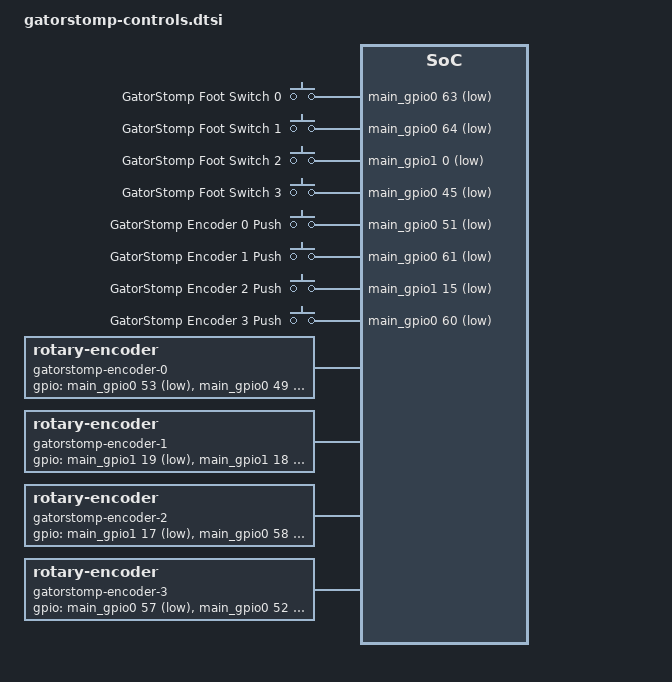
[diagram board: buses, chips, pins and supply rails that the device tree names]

/*
 * GatorSTOMP Controls
 * 4 footswitches + 4 rotary encoders with push buttons
 */

#include <dt-bindings/gpio/gpio.h>
#include <dt-bindings/input/input.h>

/* GPIO pin multiplexing */
&main_pmx0 {

    /* Footswitches and encoder push buttons */
    gatorstomp_key_pins: gatorstomp-key-pins {
        pinctrl-single,pins = <
            /* Footswitches 0-3 */
            AM62X_IOPAD(0x0100, PIN_INPUT_PULLUP, 7) /* P2.22 GPIO0_63 */
            AM62X_IOPAD(0x0104, PIN_INPUT_PULLUP, 7) /* P2.17 GPIO0_64 */
            AM62X_IOPAD(0x0178, PIN_INPUT_PULLUP, 7) /* P2.19 GPIO1_0  */
            AM62X_IOPAD(0x00B8, PIN_INPUT_PULLUP, 7) /* P2.02 GPIO0_45 */

            /* Encoder push buttons 0-3 */
            AM62X_IOPAD(0x00D0, PIN_INPUT_PULLUP, 7) /* P2.24 GPIO0_51 */
            AM62X_IOPAD(0x00F8, PIN_INPUT_PULLUP, 7) /* P2.28 GPIO0_61 */
            AM62X_IOPAD(0x01B4, PIN_INPUT_PULLUP, 7) /* P2.31 GPIO1_15 */
            AM62X_IOPAD(0x0170, PIN_DISABLE, 7)     /* P2.31A alternate pad */
            AM62X_IOPAD(0x00F4, PIN_INPUT_PULLUP, 7) /* P2.34 GPIO0_60 */
        >;
    };

    /* Encoder 0 rotation */
    gatorstomp_encoder_0_pins: gatorstomp-encoder-0-pins {
        pinctrl-single,pins = <
            AM62X_IOPAD(0x00D8, PIN_INPUT_PULLUP, 7) /* P2.18 A */
            AM62X_IOPAD(0x00C8, PIN_INPUT_PULLUP, 7) /* P2.20 B */
        >;
    };

    /* Encoder 1 rotation */
    gatorstomp_encoder_1_pins: gatorstomp-encoder-1-pins {
        pinctrl-single,pins = <
            AM62X_IOPAD(0x01C4, PIN_INPUT_PULLUP, 7) /* P2.25 A */
            AM62X_IOPAD(0x01C0, PIN_INPUT_PULLUP, 7) /* P2.27 B */
        >;
    };

    /* Encoder 2 rotation */
    gatorstomp_encoder_2_pins: gatorstomp-encoder-2-pins {
        pinctrl-single,pins = <
            AM62X_IOPAD(0x01BC, PIN_INPUT_PULLUP, 7) /* P2.29 A */
            AM62X_IOPAD(0x00A4, PIN_DISABLE, 7)     /* P2.29A alternate pad */
            AM62X_IOPAD(0x00EC, PIN_INPUT_PULLUP, 7) /* P2.30 B */
        >;
    };

    /* Encoder 3 rotation */
    gatorstomp_encoder_3_pins: gatorstomp-encoder-3-pins {
        pinctrl-single,pins = <
            AM62X_IOPAD(0x00E8, PIN_INPUT_PULLUP, 7) /* P2.32 A */
            AM62X_IOPAD(0x00D4, PIN_INPUT_PULLUP, 7) /* P2.33 B */
        >;
    };
};

/* Input devices */
 / {
    /* Footswitches and encoder push buttons */
    gatorstomp-controls {
        compatible = "gpio-keys";

        pinctrl-names = "default";
        pinctrl-0 = <&gatorstomp_key_pins>;

        footswitch-0 {
            label = "GatorStomp Foot Switch 0";
            linux,code = <BTN_0>;
            gpios = <&main_gpio0 63 GPIO_ACTIVE_LOW>;
            debounce-interval = <10>;
        };

        footswitch-1 {
            label = "GatorStomp Foot Switch 1";
            linux,code = <BTN_1>;
            gpios = <&main_gpio0 64 GPIO_ACTIVE_LOW>;
            debounce-interval = <10>;
        };

        footswitch-2 {
            label = "GatorStomp Foot Switch 2";
            linux,code = <BTN_2>;
            gpios = <&main_gpio1 0 GPIO_ACTIVE_LOW>;
            debounce-interval = <10>;
        };

        footswitch-3 {
            label = "GatorStomp Foot Switch 3";
            linux,code = <BTN_3>;
            gpios = <&main_gpio0 45 GPIO_ACTIVE_LOW>;
            debounce-interval = <10>;
        };

        encoder-0-push {
            label = "GatorStomp Encoder 0 Push";
            linux,code = <BTN_TRIGGER_HAPPY1>;
            gpios = <&main_gpio0 51 GPIO_ACTIVE_LOW>;
            debounce-interval = <10>;
        };

        encoder-1-push {
            label = "GatorStomp Encoder 1 Push";
            linux,code = <BTN_TRIGGER_HAPPY2>;
            gpios = <&main_gpio0 61 GPIO_ACTIVE_LOW>;
            debounce-interval = <10>;
        };

        encoder-2-push {
            label = "GatorStomp Encoder 2 Push";
            linux,code = <BTN_TRIGGER_HAPPY3>;
            gpios = <&main_gpio1 15 GPIO_ACTIVE_LOW>;
            debounce-interval = <10>;
        };

        encoder-3-push {
            label = "GatorStomp Encoder 3 Push";
            linux,code = <BTN_TRIGGER_HAPPY4>;
            gpios = <&main_gpio0 60 GPIO_ACTIVE_LOW>;
            debounce-interval = <10>;
        };
    };

    /* Rotary encoder 0 */
    gatorstomp-encoder-0 {
        compatible = "rotary-encoder";

        pinctrl-names = "default";
        pinctrl-0 = <&gatorstomp_encoder_0_pins>;

        gpios = <&main_gpio0 53 GPIO_ACTIVE_LOW>,
                <&main_gpio0 49 GPIO_ACTIVE_LOW>;

        linux,axis = <REL_DIAL>;
        rotary-encoder,relative-axis;
        rotary-encoder,steps-per-period = <1>;
    };

    /* Rotary encoder 1 */
    gatorstomp-encoder-1 {
        compatible = "rotary-encoder";

        pinctrl-names = "default";
        pinctrl-0 = <&gatorstomp_encoder_1_pins>;

        gpios = <&main_gpio1 19 GPIO_ACTIVE_LOW>,
                <&main_gpio1 18 GPIO_ACTIVE_LOW>;

        linux,axis = <REL_DIAL>;
        rotary-encoder,relative-axis;
        rotary-encoder,steps-per-period = <1>;
    };

    /* Rotary encoder 2 */
    gatorstomp-encoder-2 {
        compatible = "rotary-encoder";

        pinctrl-names = "default";
        pinctrl-0 = <&gatorstomp_encoder_2_pins>;

        gpios = <&main_gpio1 17 GPIO_ACTIVE_LOW>,
                <&main_gpio0 58 GPIO_ACTIVE_LOW>;

        linux,axis = <REL_DIAL>;
        rotary-encoder,relative-axis;
        rotary-encoder,steps-per-period = <1>;
    };

    /* Rotary encoder 3 */
    gatorstomp-encoder-3 {
        compatible = "rotary-encoder";

        pinctrl-names = "default";
        pinctrl-0 = <&gatorstomp_encoder_3_pins>;

        gpios = <&main_gpio0 57 GPIO_ACTIVE_LOW>,
                <&main_gpio0 52 GPIO_ACTIVE_LOW>;

        linux,axis = <REL_DIAL>;
        rotary-encoder,relative-axis;
        rotary-encoder,steps-per-period = <1>;
    };
};
